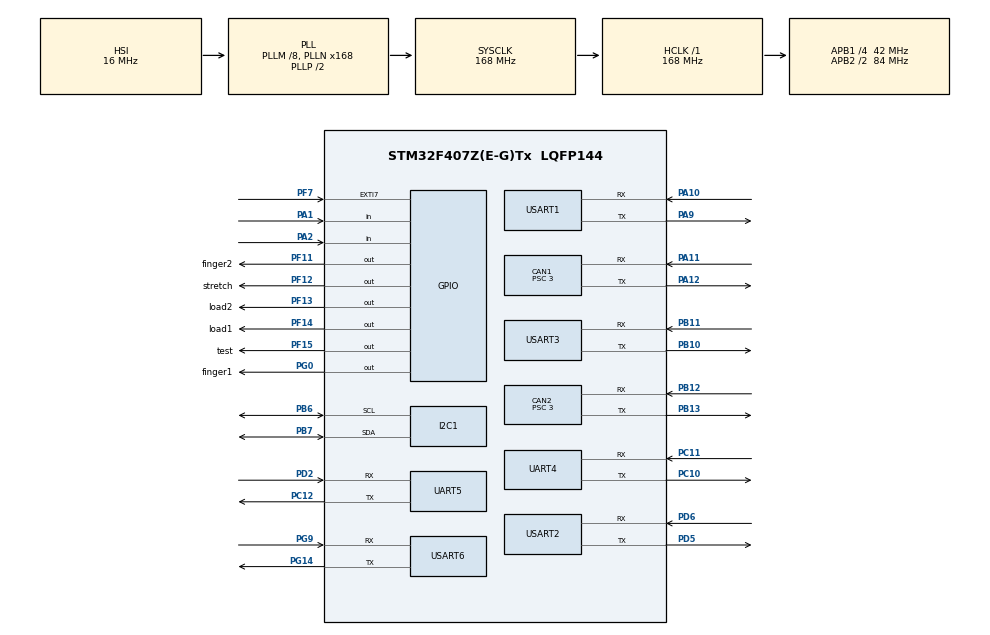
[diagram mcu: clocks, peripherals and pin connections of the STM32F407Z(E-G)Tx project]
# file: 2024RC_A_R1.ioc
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CAN1.ABOM=ENABLE
CAN1.BS1=CAN_BS1_9TQ
CAN1.BS2=CAN_BS2_4TQ
CAN1.CalculateBaudRate=1000000
CAN1.CalculateTimeBit=1000
CAN1.CalculateTimeQuantum=71.42857142857143
CAN1.Prescaler=3
CAN2.ABOM=ENABLE
CAN2.BS1=CAN_BS1_9TQ
CAN2.BS2=CAN_BS2_4TQ
CAN2.CalculateBaudRate=1000000
CAN2.CalculateTimeBit=1000
CAN2.CalculateTimeQuantum=71.42857142857143
CAN2.Prescaler=3
Dma.Request0=USART1_TX
Dma.Request1=USART1_RX
Dma.Request2=USART2_RX
Dma.Request3=USART2_TX
Dma.Request4=USART3_RX
Dma.Request5=USART3_TX
Dma.Request6=USART6_RX
Dma.Request7=USART6_TX
Dma.USART1_RX.1.Direction=DMA_PERIPH_TO_MEMORY
Dma.USART1_RX.1.FIFOMode=DMA_FIFOMODE_DISABLE
Dma.USART1_RX.1.Instance=DMA2_Stream2
Dma.USART1_RX.1.MemDataAlignment=DMA_MDATAALIGN_BYTE
Dma.USART1_RX.1.MemInc=DMA_MINC_ENABLE
Dma.USART1_RX.1.Mode=DMA_NORMAL
Dma.USART1_RX.1.PeriphDataAlignment=DMA_PDATAALIGN_BYTE
Dma.USART1_RX.1.PeriphInc=DMA_PINC_DISABLE
Dma.USART1_RX.1.Priority=DMA_PRIORITY_LOW
Dma.USART1_TX.0.Direction=DMA_MEMORY_TO_PERIPH
Dma.USART1_TX.0.FIFOMode=DMA_FIFOMODE_DISABLE
Dma.USART1_TX.0.Instance=DMA2_Stream7
Dma.USART1_TX.0.MemDataAlignment=DMA_MDATAALIGN_BYTE
Dma.USART1_TX.0.MemInc=DMA_MINC_ENABLE
Dma.USART1_TX.0.Mode=DMA_NORMAL
Dma.USART1_TX.0.PeriphDataAlignment=DMA_PDATAALIGN_BYTE
Dma.USART1_TX.0.PeriphInc=DMA_PINC_DISABLE
Dma.USART1_TX.0.Priority=DMA_PRIORITY_LOW
Dma.USART2_RX.2.Direction=DMA_PERIPH_TO_MEMORY
Dma.USART2_RX.2.FIFOMode=DMA_FIFOMODE_DISABLE
Dma.USART2_RX.2.Instance=DMA1_Stream5
Dma.USART2_RX.2.MemDataAlignment=DMA_MDATAALIGN_BYTE
Dma.USART2_RX.2.MemInc=DMA_MINC_ENABLE
Dma.USART2_RX.2.Mode=DMA_NORMAL
Dma.USART2_RX.2.PeriphDataAlignment=DMA_PDATAALIGN_BYTE
Dma.USART2_RX.2.PeriphInc=DMA_PINC_DISABLE
Dma.USART2_RX.2.Priority=DMA_PRIORITY_LOW
Dma.USART2_TX.3.Direction=DMA_MEMORY_TO_PERIPH
Dma.USART2_TX.3.FIFOMode=DMA_FIFOMODE_DISABLE
Dma.USART2_TX.3.Instance=DMA1_Stream6
Dma.USART2_TX.3.MemDataAlignment=DMA_MDATAALIGN_BYTE
Dma.USART2_TX.3.MemInc=DMA_MINC_ENABLE
Dma.USART2_TX.3.Mode=DMA_NORMAL
Dma.USART2_TX.3.PeriphDataAlignment=DMA_PDATAALIGN_BYTE
Dma.USART2_TX.3.PeriphInc=DMA_PINC_DISABLE
Dma.USART2_TX.3.Priority=DMA_PRIORITY_LOW
Dma.USART3_RX.4.Direction=DMA_PERIPH_TO_MEMORY
Dma.USART3_RX.4.FIFOMode=DMA_FIFOMODE_DISABLE
Dma.USART3_RX.4.Instance=DMA1_Stream1
Dma.USART3_RX.4.MemDataAlignment=DMA_MDATAALIGN_BYTE
Dma.USART3_RX.4.MemInc=DMA_MINC_ENABLE
Dma.USART3_RX.4.Mode=DMA_NORMAL
Dma.USART3_RX.4.PeriphDataAlignment=DMA_PDATAALIGN_BYTE
Dma.USART3_RX.4.PeriphInc=DMA_PINC_DISABLE
Dma.USART3_RX.4.Priority=DMA_PRIORITY_LOW
Dma.USART3_TX.5.Direction=DMA_MEMORY_TO_PERIPH
Dma.USART3_TX.5.FIFOMode=DMA_FIFOMODE_DISABLE
Dma.USART3_TX.5.Instance=DMA1_Stream3
Dma.USART3_TX.5.MemDataAlignment=DMA_MDATAALIGN_BYTE
Dma.USART3_TX.5.MemInc=DMA_MINC_ENABLE
Dma.USART3_TX.5.Mode=DMA_NORMAL
Dma.USART3_TX.5.PeriphDataAlignment=DMA_PDATAALIGN_BYTE
Dma.USART3_TX.5.PeriphInc=DMA_PINC_DISABLE
Dma.USART3_TX.5.Priority=DMA_PRIORITY_LOW
Dma.USART6_RX.6.Direction=DMA_PERIPH_TO_MEMORY
Dma.USART6_RX.6.FIFOMode=DMA_FIFOMODE_DISABLE
Dma.USART6_RX.6.Instance=DMA2_Stream1
Dma.USART6_RX.6.MemDataAlignment=DMA_MDATAALIGN_BYTE
Dma.USART6_RX.6.MemInc=DMA_MINC_ENABLE
Dma.USART6_RX.6.Mode=DMA_NORMAL
Dma.USART6_RX.6.PeriphDataAlignment=DMA_PDATAALIGN_BYTE
Dma.USART6_RX.6.PeriphInc=DMA_PINC_DISABLE
Dma.USART6_RX.6.Priority=DMA_PRIORITY_LOW
Dma.USART6_TX.7.Direction=DMA_MEMORY_TO_PERIPH
Dma.USART6_TX.7.FIFOMode=DMA_FIFOMODE_DISABLE
Dma.USART6_TX.7.Instance=DMA2_Stream6
Dma.USART6_TX.7.MemDataAlignment=DMA_MDATAALIGN_BYTE
Dma.USART6_TX.7.MemInc=DMA_MINC_ENABLE
Dma.USART6_TX.7.Mode=DMA_NORMAL
Dma.USART6_TX.7.PeriphDataAlignment=DMA_PDATAALIGN_BYTE
Dma.USART6_TX.7.PeriphInc=DMA_PINC_DISABLE
Dma.USART6_TX.7.Priority=DMA_PRIORITY_LOW
FREERTOS.Tasks01=FSM_switch,32,256,FSM_Task,Default,NULL,Dynamic,NULL,NULL;Chassis,16,256,Chassis_Task,Default,NULL,Dynamic,NULL,NULL;Gimbal,8,128,Gimbal_Task,Default,NULL,Dynamic,NULL,NULL;Shoot,8,256,Shoot_Task,Default,NULL,Dynamic,NULL,NULL;Motor,40,256,MotorTask,Default,NULL,Dynamic,NULL,NULL;Communicate,24,128,CommTask,Default,NULL,Dynamic,NULL,NULL;Move,8,256,MoveTask,Default,NULL,Dynamic,NULL,NULL;sensor,8,128,sensor_fun,Default,NULL,Dynamic,NULL,NULL
Mcu.Family=STM32F4
Mcu.Name=STM32F407Z(E-G)Tx
Mcu.Package=LQFP144
NVIC.CAN1_RX0_IRQn=true\:2\:0\:true\:false\:true\:false\:true\:true\:true
NVIC.CAN2_RX0_IRQn=true\:3\:0\:true\:false\:true\:false\:true\:true\:true
NVIC.DMA1_Stream1_IRQn=true\:5\:0\:false\:false\:true\:true\:false\:true\:true
NVIC.DMA1_Stream3_IRQn=true\:5\:0\:false\:false\:true\:true\:false\:true\:true
NVIC.DMA1_Stream5_IRQn=true\:5\:0\:false\:false\:true\:true\:false\:true\:true
NVIC.DMA1_Stream6_IRQn=true\:5\:0\:false\:false\:true\:true\:false\:true\:true
NVIC.DMA2_Stream1_IRQn=true\:5\:0\:false\:false\:true\:true\:false\:true\:true
NVIC.DMA2_Stream2_IRQn=true\:5\:0\:false\:false\:true\:true\:false\:true\:true
NVIC.DMA2_Stream6_IRQn=true\:5\:0\:false\:false\:true\:true\:false\:true\:true
NVIC.DMA2_Stream7_IRQn=true\:5\:0\:false\:false\:true\:true\:false\:true\:true
NVIC.EXTI9_5_IRQn=true\:5\:0\:false\:false\:true\:false\:true\:true\:true
NVIC.PriorityGroup=NVIC_PRIORITYGROUP_4
NVIC.TIM2_IRQn=true\:0\:0\:true\:false\:true\:false\:true\:true\:true
NVIC.TIM3_IRQn=true\:15\:0\:false\:false\:true\:false\:false\:true\:true
NVIC.TimeBase=TIM3_IRQn
NVIC.TimeBaseIP=TIM3
NVIC.UART4_IRQn=true\:0\:0\:true\:false\:true\:false\:true\:true\:true
NVIC.UART5_IRQn=true\:1\:0\:true\:false\:true\:false\:true\:true\:true
NVIC.USART1_IRQn=true\:6\:0\:true\:false\:true\:false\:true\:true\:true
NVIC.USART2_IRQn=true\:7\:0\:true\:false\:true\:false\:true\:true\:true
NVIC.USART3_IRQn=true\:4\:0\:true\:false\:true\:false\:true\:true\:true
NVIC.USART6_IRQn=true\:5\:0\:false\:false\:true\:true\:true\:true\:true
PA1.GPIO_PuPd=GPIO_PULLUP
PA1.Signal=GPIO_Input
PA10.Mode=Asynchronous
PA10.Signal=USART1_RX
PA11.Mode=CAN_Activate
PA11.Signal=CAN1_RX
PA12.Mode=CAN_Activate
PA12.Signal=CAN1_TX
PA13.Mode=Serial_Wire
PA13.Signal=SYS_JTMS-SWDIO
PA14.Mode=Serial_Wire
PA14.Signal=SYS_JTCK-SWCLK
PA2.GPIO_PuPd=GPIO_PULLDOWN
PA2.Signal=GPIO_Input
PA9.Mode=Asynchronous
PA9.Signal=USART1_TX
PB10.Mode=Asynchronous
PB10.Signal=USART3_TX
PB11.Mode=Asynchronous
PB11.Signal=USART3_RX
PB12.Mode=CAN_Activate
PB12.Signal=CAN2_RX
PB13.Mode=CAN_Activate
PB13.Signal=CAN2_TX
PB6.Mode=I2C
PB6.Signal=I2C1_SCL
PB7.Mode=I2C
PB7.Signal=I2C1_SDA
PC10.Mode=Asynchronous
PC10.Signal=UART4_TX
PC11.Mode=Asynchronous
PC11.Signal=UART4_RX
PC12.Mode=Asynchronous
PC12.Signal=UART5_TX
PD2.Mode=Asynchronous
PD2.Signal=UART5_RX
PD5.Mode=Asynchronous
PD5.Signal=USART2_TX
PD6.Mode=Asynchronous
PD6.Signal=USART2_RX
PF11.GPIO_Label=finger2
PF11.Signal=GPIO_Output
PF12.GPIO_Label=stretch
PF12.Signal=GPIO_Output
PF13.GPIO_Label=load2
PF13.Signal=GPIO_Output
PF14.GPIO_Label=load1
PF14.Signal=GPIO_Output
PF15.GPIO_Label=test
PF15.Signal=GPIO_Output
PF7.Signal=GPXTI7
PG0.GPIO_Label=finger1
PG0.Signal=GPIO_Output
PG14.Mode=Asynchronous
PG14.Signal=USART6_TX
PG9.Mode=Asynchronous
PG9.Signal=USART6_RX
PH0-OSC_IN.Mode=HSE-External-Oscillator
PH0-OSC_IN.Signal=RCC_OSC_IN
PH1-OSC_OUT.Mode=HSE-External-Oscillator
PH1-OSC_OUT.Signal=RCC_OSC_OUT
ProjectManager.HeapSize=0x200
ProjectManager.StackSize=0x400
ProjectManager.TargetToolchain=MDK-ARM V5.32
RCC.48MHZClocksFreq_Value=84000000
RCC.AHBFreq_Value=168000000
RCC.APB1CLKDivider=RCC_HCLK_DIV4
RCC.APB1Freq_Value=42000000
RCC.APB1TimFreq_Value=84000000
RCC.APB2CLKDivider=RCC_HCLK_DIV2
RCC.APB2Freq_Value=84000000
RCC.APB2TimFreq_Value=168000000
RCC.CortexFreq_Value=168000000
RCC.HCLKFreq_Value=168000000
RCC.HSE_VALUE=8000000
RCC.HSI_VALUE=16000000
RCC.LSE_VALUE=32768
RCC.PLLM=8
RCC.PLLN=168
RCC.SYSCLKFreq_VALUE=168000000
RCC.SYSCLKSource=RCC_SYSCLKSOURCE_PLLCLK
RCC.VCOOutputFreq_Value=336000000
TIM2.Period=100000
TIM2.Prescaler=83
UART4.VirtualMode=Asynchronous
UART5.VirtualMode=Asynchronous
USART1.VirtualMode=VM_ASYNC
USART2.VirtualMode=VM_ASYNC
USART3.VirtualMode=VM_ASYNC
USART6.VirtualMode=VM_ASYNC
VP_FREERTOS_VS_CMSIS_V2.Mode=CMSIS_V2
VP_SYS_VS_tim3.Mode=TIM3
VP_TIM2_VS_ClockSourceINT.Mode=Internal
board=custom

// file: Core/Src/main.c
/* USER CODE BEGIN Header */
/**
 ******************************************************************************
 * @file           : main.c
 * @brief          : Main program body
 ******************************************************************************
 * @attention
 *
 * Copyright (c) 2023 STMicroelectronics.
 * All rights reserved.
 *
 * This software is licensed under terms that can be found in the LICENSE file
 * in the root directory of this software component.
 * If no LICENSE file comes with this software, it is provided AS-IS.
 *
 ******************************************************************************
 */
/* USER CODE END Header */
#include "main.h"
#include "cmsis_os.h"
#include "can.h"
#include "dma.h"
#include "i2c.h"
#include "tim.h"
#include "usart.h"
#include "gpio.h"

void SystemClock_Config(void);
void MX_FREERTOS_Init(void);

int main(void)
{

  /* MCU Configuration--------------------------------------------------------*/

  /* Reset of all peripherals, Initializes the Flash interface and the Systick. */
  HAL_Init();

  /* Configure the system clock */
  SystemClock_Config();

  /* Initialize all configured peripherals */
  MX_GPIO_Init();
  MX_DMA_Init();
  MX_CAN1_Init();
  MX_CAN2_Init();
  MX_TIM2_Init();
  MX_UART4_Init();
  MX_UART5_Init();
  MX_USART3_UART_Init();
  MX_USART1_UART_Init();
  MX_USART2_UART_Init();
  MX_USART6_UART_Init();
  MX_I2C1_Init();
  /* USER CODE BEGIN 2 */
  HAL_TIM_Base_Start_IT(&htim2); // 初始化定时器2

  Usr_UART_Init();
  uint8_t USART_Receiver1;
  uint8_t USART1_Receiver;

  HAL_UARTEx_ReceiveToIdle_DMA(&huart1, Usart1.ProcessBuff, Max_BUFF_Len);
  __HAL_DMA_DISABLE_IT(&hdma_usart1_rx, DMA_IT_HT); // 关闭DMA半传输中断

  HAL_UARTEx_ReceiveToIdle_DMA(&huart2, Usart2.ProcessBuff, Max_BUFF_Len);
  __HAL_DMA_DISABLE_IT(&hdma_usart2_rx, DMA_IT_HT); // 关闭DMA半传输中断

  HAL_UARTEx_ReceiveToIdle_DMA(&huart3, Usart3.ProcessBuff, Max_BUFF_Len);
  __HAL_DMA_DISABLE_IT(&hdma_usart3_rx, DMA_IT_HT); // 关闭DMA半传输中断

  HAL_UART_Receive_IT(&huart4, &USART_Receiver1, 1);
  //  HAL_UARTEx_ReceiveToIdle_DMA(&huart4, Usart4.ProcessBuff, Max_BUFF_Len);
  //  __HAL_DMA_DISABLE_IT(&hdma_uart4_rx, DMA_IT_HT); // 关闭DMA半传输中断

  HAL_UART_Receive_IT(&huart5, &USART1_Receiver, 1);
  //  HAL_UARTEx_ReceiveToIdle_DMA(&huart5, Usart5.ProcessBuff, Max_BUFF_Len);
  //  __HAL_DMA_DISABLE_IT(&hdma_uart5_rx, DMA_IT_HT); // 关闭DMA半传输中断

  can_filter_init();
  can1_config();
  can2_config();
  Move_Init();
  chassis_init();

  ctrl_sent_test(seed_state);
  keyboard_feedback_send();
//  TCS34725_1_Init();
  /* USER CODE END 2 */

  /* Init scheduler */
  osKernelInitialize();

  /* Call init function for freertos objects (in cmsis_os2.c) */
  MX_FREERTOS_Init();

  /* Start scheduler */
  osKernelStart();

  /* We should never get here as control is now taken by the scheduler */

  /* Infinite loop */
  while (1)
  {

  }
}

void SystemClock_Config(void)
{
  RCC_OscInitTypeDef RCC_OscInitStruct = {0};
  RCC_ClkInitTypeDef RCC_ClkInitStruct = {0};

  /** Configure the main internal regulator output voltage
  */
  __HAL_RCC_PWR_CLK_ENABLE();
  __HAL_PWR_VOLTAGESCALING_CONFIG(PWR_REGULATOR_VOLTAGE_SCALE1);

  /** Initializes the RCC Oscillators according to the specified parameters
  * in the RCC_OscInitTypeDef structure.
  */
  RCC_OscInitStruct.OscillatorType = RCC_OSCILLATORTYPE_HSI;
  RCC_OscInitStruct.HSIState = RCC_HSI_ON;
  RCC_OscInitStruct.HSICalibrationValue = RCC_HSICALIBRATION_DEFAULT;
  RCC_OscInitStruct.PLL.PLLState = RCC_PLL_ON;
  RCC_OscInitStruct.PLL.PLLSource = RCC_PLLSOURCE_HSI;
  RCC_OscInitStruct.PLL.PLLM = 8;
  RCC_OscInitStruct.PLL.PLLN = 168;
  RCC_OscInitStruct.PLL.PLLP = RCC_PLLP_DIV2;
  RCC_OscInitStruct.PLL.PLLQ = 4;
  if (HAL_RCC_OscConfig(&RCC_OscInitStruct) != HAL_OK)
  {
    Error_Handler();
  }

  /** Initializes the CPU, AHB and APB buses clocks
  */
  RCC_ClkInitStruct.ClockType = RCC_CLOCKTYPE_HCLK|RCC_CLOCKTYPE_SYSCLK
                              |RCC_CLOCKTYPE_PCLK1|RCC_CLOCKTYPE_PCLK2;
  RCC_ClkInitStruct.SYSCLKSource = RCC_SYSCLKSOURCE_PLLCLK;
  RCC_ClkInitStruct.AHBCLKDivider = RCC_SYSCLK_DIV1;
  RCC_ClkInitStruct.APB1CLKDivider = RCC_HCLK_DIV4;
  RCC_ClkInitStruct.APB2CLKDivider = RCC_HCLK_DIV2;

  if (HAL_RCC_ClockConfig(&RCC_ClkInitStruct, FLASH_LATENCY_5) != HAL_OK)
  {
    Error_Handler();
  }
}

void HAL_TIM_PeriodElapsedCallback(TIM_HandleTypeDef *htim)
{
  /* USER CODE BEGIN Callback 0 */
  if (htim->Instance == TIM2)
  {
    LAST_TIME_ISR_CNT = TIME_ISR_CNT;
    TIME_ISR_CNT++;
    Microsecond_Cnt++;
    if (Microsecond_Cnt >= 100)
    {
      Microsecond_Cnt = 0;
      Time_Sys[Second]++;
      if (Time_Sys[Second] >= 60)
      {
        Time_Sys[Second] = 0;
        Time_Sys[Minute]++;
        if (Time_Sys[Minute] >= 60)
        {
          Time_Sys[Minute] = 0;
          Time_Sys[Hour]++;
        }
      }
    }
    Time_Sys[MicroSecond] = Microsecond_Cnt;
  }
  /* USER CODE END Callback 0 */
  if (htim->Instance == TIM3) {
    HAL_IncTick();
  }
}

void Error_Handler(void)
{
  __disable_irq();
  while (1)
  {
  }
}

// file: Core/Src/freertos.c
/* USER CODE BEGIN Header */
/**
 ******************************************************************************
 * File Name          : freertos.c
 * Description        : Code for freertos applications
 ******************************************************************************
 * @attention
 *
 * Copyright (c) 2024 STMicroelectronics.
 * All rights reserved.
 *
 * This software is licensed under terms that can be found in the LICENSE file
 * in the root directory of this software component.
 * If no LICENSE file comes with this software, it is provided AS-IS.
 *
 ******************************************************************************
 */
/* USER CODE END Header */

#include "FreeRTOS.h"
#include "task.h"
#include "main.h"
#include "cmsis_os.h"

/* Definitions for FSM_switch */
osThreadId_t FSM_switchHandle;
const osThreadAttr_t FSM_switch_attributes = {
    .name = "FSM_switch",
    .stack_size = 256 * 4,
    .priority = (osPriority_t)osPriorityAboveNormal,
};
/* Definitions for Chassis */
osThreadId_t ChassisHandle;
const osThreadAttr_t Chassis_attributes = {
    .name = "Chassis",
    .stack_size = 256 * 4,
    .priority = (osPriority_t)osPriorityBelowNormal,
};
/* Definitions for Gimbal */
osThreadId_t GimbalHandle;
const osThreadAttr_t Gimbal_attributes = {
    .name = "Gimbal",
    .stack_size = 128 * 4,
    .priority = (osPriority_t)osPriorityLow,
};
/* Definitions for Shoot */
osThreadId_t ShootHandle;
const osThreadAttr_t Shoot_attributes = {
    .name = "Shoot",
    .stack_size = 256 * 4,
    .priority = (osPriority_t)osPriorityLow,
};
/* Definitions for Motor */
osThreadId_t MotorHandle;
const osThreadAttr_t Motor_attributes = {
    .name = "Motor",
    .stack_size = 256 * 4,
    .priority = (osPriority_t)osPriorityHigh,
};
/* Definitions for Communicate */
osThreadId_t CommunicateHandle;
const osThreadAttr_t Communicate_attributes = {
    .name = "Communicate",
    .stack_size = 128 * 4,
    .priority = (osPriority_t)osPriorityNormal,
};
/* Definitions for Move */
osThreadId_t MoveHandle;
const osThreadAttr_t Move_attributes = {
    .name = "Move",
    .stack_size = 256 * 4,
    .priority = (osPriority_t)osPriorityLow,
};
/* Definitions for sensor */
osThreadId_t sensorHandle;
const osThreadAttr_t sensor_attributes = {
    .name = "sensor",
    .stack_size = 128 * 4,
    .priority = (osPriority_t)osPriorityLow,
};

void FSM_Task(void *argument);
void Chassis_Task(void *argument);
void Gimbal_Task(void *argument);
void Shoot_Task(void *argument);
void MotorTask(void *argument);
void CommTask(void *argument);
void MoveTask(void *argument);
void sensor_fun(void *argument);

void MX_FREERTOS_Init(void); /* (MISRA C 2004 rule 8.1) */

void MX_FREERTOS_Init(void)
{

  /* Create the thread(s) */
  /* creation of FSM_switch */
  FSM_switchHandle = osThreadNew(FSM_Task, NULL, &FSM_switch_attributes);

  /* creation of Chassis */
  ChassisHandle = osThreadNew(Chassis_Task, NULL, &Chassis_attributes);

  /* creation of Gimbal */
  GimbalHandle = osThreadNew(Gimbal_Task, NULL, &Gimbal_attributes);

  /* creation of Shoot */
  ShootHandle = osThreadNew(Shoot_Task, NULL, &Shoot_attributes);

  /* creation of Motor */
  MotorHandle = osThreadNew(MotorTask, NULL, &Motor_attributes);

  /* creation of Communicate */
  CommunicateHandle = osThreadNew(CommTask, NULL, &Communicate_attributes);

  /* creation of Move */
  MoveHandle = osThreadNew(MoveTask, NULL, &Move_attributes);

  /* creation of sensor */
  sensorHandle = osThreadNew(sensor_fun, NULL, &sensor_attributes);

}

void FSM_Task(void *argument)
{
  /* USER CODE BEGIN FSM_Task */
  /* Infinite loop */
  for (;;)
  {
    // 用于切换场地
    if (HAL_GPIO_ReadPin(GPIOA, GPIO_PIN_2))
    {
      field = Right;
    }
    else
    {
      field = Left;
    }
    robot_fsm();
    osDelay(1);
  }
  /* USER CODE END FSM_Task */
}

void Chassis_Task(void *argument)
{
  /* USER CODE BEGIN Chassis_Task */
  /* Infinite loop */
  for (;;)
  {
    if (chassis_state == CHASSIS_DISABLE)
    {
      ROBOT_CHASSI.Vx_MAX = 0;
      ROBOT_CHASSI.Vy_MAX = 0;
      ROBOT_CHASSI.Vw_MAX = 0;
      chassis_stop();
    }
    else if (chassis_state == CHASSIS_STATE_HIGH_SPEED)
    {
      ROBOT_CHASSI.Vx_MAX = 1600;
      ROBOT_CHASSI.Vy_MAX = 1600;
      ROBOT_CHASSI.Vw_MAX = 2000;
    }
    else if (chassis_state == CHASSIS_STATE_LOW_SPEED)
    {
      //      ROBOT_CHASSI.Vx_MAX = 800;
      //      ROBOT_CHASSI.Vy_MAX = 800;
      //      ROBOT_CHASSI.Vw_MAX = 1000;
      ROBOT_CHASSI.Vx_MAX = 1600;
      ROBOT_CHASSI.Vy_MAX = 1600;
      ROBOT_CHASSI.Vw_MAX = 2000;
    }
    Free_Control();
    Robot_Wheels_RPM_calculate();
    osDelay(1);
  }
  /* USER CODE END Chassis_Task */
}

void Gimbal_Task(void *argument)
{
  /* USER CODE BEGIN Gimbal_Task */
  /* Infinite loop */
  for (;;)
  {
    switch (gimbal_state)
    {
    case GIMBAL_STATE_DISABLE:
      Position_Control(&can2motorRealInfo[Motor_SHOOT_GIMBAL], 3300);
      belt_speed = 5000;
      // belt_calc(field, GIMBAL_STATE_DISABLE);
      break;

    case GIMBAL_AIM_1:
      if (field == Left)
      {
        Gimbal.target_point[0] = shooting_point_x[1];
        Gimbal.target_point[1] = shooting_point_y[1];
      }
      else if (field == Right)
      {
        Gimbal.target_point[0] = shooting_point_x[4];
        Gimbal.target_point[1] = shooting_point_y[4];
      }
      Gimbal_controller();
      if (Theta <= 140 && Theta >= -140)
      {
        if (Position_Control(&can2motorRealInfo[Motor_SHOOT_GIMBAL], Alpha))
        {
          Gimbal.aim_flag = Position_Control(&can2motorRealInfo[Motor_SHOOT_GIMBAL], Alpha);
        }
      }
      belt_calc(field, GIMBAL_AIM_1);
      break;

    case GIMBAL_AIM_2:
      if (field == Left)
      {
        Gimbal.target_point[0] = shooting_point_x[2];
        Gimbal.target_point[1] = shooting_point_y[2];
      }
      else if (field == Right)
      {
        Gimbal.target_point[0] = shooting_point_x[5];
        Gimbal.target_point[1] = shooting_point_y[5];
      }
      Gimbal_controller();
      if (Theta <= 140 && Theta >= -140)
      {
        if (Position_Control(&can2motorRealInfo[Motor_SHOOT_GIMBAL], Alpha))
        {
          Gimbal.aim_flag = Position_Control(&can2motorRealInfo[Motor_SHOOT_GIMBAL], Alpha);
        }
      }
      belt_calc(field, GIMBAL_AIM_2);
      break;

    case GIMBAL_AIM_3:
      if (field == Left)
      {
        Gimbal.target_point[0] = shooting_point_x[3];
        Gimbal.target_point[1] = shooting_point_y[3];
      }
      else if (field == Right)
      {
        Gimbal.target_point[0] = shooting_point_x[6];
        Gimbal.target_point[1] = shooting_point_y[6];
      }
      Gimbal_controller();
      if (Theta <= 140 && Theta >= -140)
      {
        if (Position_Control(&can2motorRealInfo[Motor_SHOOT_GIMBAL], Alpha))
        {
          Gimbal.aim_flag = Position_Control(&can2motorRealInfo[Motor_SHOOT_GIMBAL], Alpha);
        }
      }
      belt_calc(field, GIMBAL_AIM_3);
      break;
    default:
      break;
    }
    // // sent_data(-1 * can1motorRealInfo[0].RPM, -1 * can1motorRealInfo[1].RPM, can1motorRealInfo[2].RPM, can1motorRealInfo[3].RPM);
    // if (ball == 0 || shooting_point == 0)
    // {
    //   Position_Control(&can2motorRealInfo[Motor_SHOOT_GIMBAL], 3300);
    // }
    // else
    // {
    //   Auto_shooting_Init(); // 自动瞄准初始化
    // }
    // ball_auto(field);
    osDelay(10);
  }
  /* USER CODE END Gimbal_Task */
}

void Shoot_Task(void *argument)
{
  /* USER CODE BEGIN Shoot_Task */

  /* Infinite loop */
  static int catch_start = 0; // 夹取计时开启标志位
  static int catch_time = 0;  // 夹取计时
  int catch_time_max = 150;   // 夹取计时最大值
  for (;;)
  {
    switch (shoot_state)
    {
    case SHOOT_STATE_DISABLE:
      /*失能*/
      flip_motor(flip_init); // 翻转电机抬升
      jaw_open;              // 夹爪张开
      ball_loaded = 0;       // 球未装填
      back_ball;             // 推射气缸回位
      belt_ctrl(belt_stop);  // 摩擦带停止
      gimbal_state = GIMBAL_STATE_DISABLE;
      shooting_point = 0;
      belt_speed = 0;
      break;
    case SHOOT_STATE_INIT:
      /*初始化*/
      jaw_open;              // 夹爪张开
      ball_loaded = 0;       // 球未装填
      back_ball;             // 推射气缸回位
      flip_motor(flip_down); // 翻转电机下降
      catch_start = 0;       // 关闭夹爪计时
                             //	  belt_ctrl(belt_speed);
      break;
    case SHOOT_STATE_LOAD:
      /*取球*/
      belt_ctrl(belt_stop);                // 摩擦带停止
      jaw_close;                           // 夹爪夹紧
      back_ball;                           // 推射气缸回位
      catch_start = 1;                     // 开启计时
      if (catch_time > catch_time_max - 1) // 1000ms后
      {
        flip_motor(flip_up); // 翻转电机抬升
        if (flip_motor(flip_up) == 0)
        {
          ball_loaded = 1; // 球已装填
          jaw_open;        // 装填
        }
      }
      else
      {
        flip_motor(flip_down); // 翻转电机下降
      }
      break;
    case SHOOT_STATE_SHOOTING:
      /*发射*/
      jaw_open; // 夹爪张开
      // if (ball != 0)
      // {
      //   belt_ctrl(belt_speed);
      // }
      // else if (ball == 0)
      // {
      //   belt_base();
      // }
      belt_ctrl(belt_speed);
      if (shooting_enable)
      {
        push_ball; // 推射气缸推出
      }
      if (catch_time > catch_time_max - 1) // 1000ms后
      {
        flip_motor(flip_down); // 翻转电机下降
      }
      if (flip_motor(flip_down) == 1)
      {
        ball_loaded = 0; // 球未装填
        catch_start = 0; // 关闭夹爪计时
      }
      break;
    }
    if (catch_start == 1)
    {
      if (catch_time < catch_time_max)
      {
        catch_time++;
      }
      else
      {
        catch_time = catch_time_max;
      }
    }
    else
    {
      catch_time = 0;
    }
    osDelay(1);
  }
  /* USER CODE END Shoot_Task */
}

void MotorTask(void *argument)
{
  /* USER CODE BEGIN MotorTask */
  /* Infinite loop */
  for (;;)
  {
    Motor_Control();
    osDelay(1);
  }
  /* USER CODE END MotorTask */
}

void CommTask(void *argument)
{
  /* USER CODE BEGIN CommTask */
  static int seed_lost_back1;
  static int seed_lost_back2;
  /* Infinite loop */
  for (;;)
  {
    if (seed_state != last_seed_state)
    {
      ctrl_sent_test(seed_state);
      last_seed_state = seed_state;
    }
    if (feedback1.lost_cnt != seed_lost_back1 || feedback2.lost_cnt != seed_lost_back2)
    {
      ctrl_sent_test(seed_state);
      seed_lost_back1 = feedback1.lost_cnt;
      seed_lost_back2 = feedback2.lost_cnt;
    }

    // 键盘反馈数据更新
    keyboard_feedbacks.auto_state = auto_state;
    keyboard_feedbacks.move_state = move_state_switch(move_state);
    keyboard_feedbacks.direction = direction;
    keyboard_feedbacks.seed = seed;
    keyboard_feedbacks.put = put;
    keyboard_feedbacks.gimbal_state = gimbal_state;
    keyboard_feedbacks.lost_cnt = keyboard_feedbacks.receive_cnt - keyboard_feedbacks.command_cnt;
    if (memcmp(&keyboard_feedbacks, &last_keyboard_feedbacks, 9) != 0)
    {
      keyboard_feedback_send();
      memcpy(&last_keyboard_feedbacks, &keyboard_feedbacks, 9);
    }

    osDelay(100);
  }
  /* USER CODE END CommTask */
}

void MoveTask(void *argument)
{
  /* USER CODE BEGIN MoveTask */
  /* Infinite loop */
  //  static float tt17 = 0;
  static int seed_preput = 0;
  static int seed_chack = 0;
  for (;;)
  {
    if (caculation_ok)
    {
      YawAdjust(0.0);
    }
    switch (move_state)
    {
    case MOVE_STATE_INIT:
      ROBOT_CHASSI.plan_x = 0;
      ROBOT_CHASSI.plan_y = 0;
      //      ROBOT_CHASSI.plan_w = 0;
      break;

    case MOVE_STATE_WAIT_SEED:
      robot_state = ROBOT_STATE_SEED_CTRL;
      ROBOT_CHASSI.plan_x = 0;
      ROBOT_CHASSI.plan_y = 0;
      //      ROBOT_CHASSI.plan_w = 0;
      if (SWD < 1500)
      {
        seed_state = SEED_STATE_INIT;
      }
      else if (SWD > 1500)
      {
        seed_state = SEED_STATE_PEEK_DOWN;

        if (feedback2.state == SEED_STATE_PEEK_UP && feedback2.motor_state[2] == 2)
        {
          update_action_put = 1;
          put = 2 * seed - 1;
          move_state = MOVE_STATE_PUT;
        }
      }
      break;

    case MOVE_STATE_WAIT_PUT:
      robot_state = ROBOT_STATE_SEED_CTRL;
      ROBOT_CHASSI.plan_x = 0;
      ROBOT_CHASSI.plan_y = 0;
      //      ROBOT_CHASSI.plan_w = 0;
      if (SWD < 1500)
      {
        if (put == 1)
        {
          seed_state = field == 0 ? SEED_STATE_PUT : SEED_STATE_PUT_BLUE;
          seed_chack = 0;
          if (feedback2.motor_state[field] == 0)
          {
            update_action_put = 1;
            put = 2;
            move_state = MOVE_STATE_PUT;
          }
        }
        else if (put == 3)
        {
          seed_state = field == 0 ? SEED_STATE_PUT : SEED_STATE_PUT_BLUE;
          seed_chack = 0;
          if (feedback2.motor_state[field] == 0)
          {
            update_action_put = 1;
            put = 4;
            move_state = MOVE_STATE_PUT;
          }
        }
        else if (put == 5)
        {
          seed_state = field == 0 ? SEED_STATE_PUT : SEED_STATE_PUT_BLUE;
          seed_chack = 0;
          if (feedback2.motor_state[field] == 0)
          {
            update_action_put = 1;
            put = 6;
            move_state = MOVE_STATE_PUT;
          }
        }
        else // put为双数 2 4 6
        {
          if (seed_chack == 0)
          {
            seed_state = field == 0 ? SEED_STATE_PUT : SEED_STATE_PUT_BLUE;
          }
          else if (seed_chack == 1)
          {
            seed_state = SEED_STATE_INIT;
            seed_preput = 0;
          }
        }
      }
      else if (SWD > 1500)
      {
        if (seed_preput == 1)
        {
          seed_chack = 1;
          seed_state = SEED_STATE_HALF;
        }
        else if (seed_preput == 0)
        {
          seed_state = SEED_STATE_PEEK_UP;
        }
      }
      break;

    case MOVE_STATE_WAIT_CATCH:
      robot_state = ROBOT_STATE_SHOOT_CTRL;
      ROBOT_CHASSI.plan_x = 0;
      ROBOT_CHASSI.plan_y = 0;
      //      ROBOT_CHASSI.plan_w = 0;
      break;

    case MOVE_STATE_WAIT_ACTION:

      break;

    case MOVE_INIT_ACTION:

      break;

    case MOVE_STATE_SEED:
      robot_state = ROBOT_STATE_SEED_CTRL;
      seed_state = SEED_STATE_JAW_INIT;
      if (field == Left)
      {
        move_seed();
      }
      else
      {
        move_seed_right();
      }

      break;

    case MOVE_SEED_LASER:
      robot_state = ROBOT_STATE_SEED_CTRL;
      seed_state = SEED_STATE_INIT;
      if (field == Left)
      {
        laser_seed();
      }
      else
      {
        //		  point_to_point(3321,280,0.0,500);
        laser_seed_right();
      }
      break;

    case MOVE_PUT_LASER:
      robot_state = ROBOT_STATE_SEED_CTRL;
      if (put == 1 || put == 3 || put == 5)
      {
        seed_state = SEED_STATE_HALF;
        seed_preput = 1;
      }
      else if (put == 2 || put == 4 || put == 6)
      {
        seed_state = field == 0 ? SEED_STATE_PUT : SEED_STATE_PUT_BLUE;
        seed_chack = 0;
      }

      if (field == Left)
      {
        laser_put();
      }
      else
      {
        laser_put_right();
      }
      break;

    case MOVE_STATE_PUT:
      robot_state = ROBOT_STATE_SEED_CTRL;
      if (field == Left)
      {
        put_seed();
      }
      else
      {
        put_seed_right();
      }

      break;

    case MOVE_STATE_LASER:
      robot_state = ROBOT_STATE_SHOOT_CTRL;
      if (field == Left)
      {
        laser_catch();
      }
      else
      {

        laser_catch_right();
      }

      break;

    case MOVE_STATE_ACTION_NEAR:
      ////		if(Laser2_calibration(DT35.y,DT35.x))
      //	    if(YawAdjust(0.0))
      //		{
      //		 ROBOT_CHASSI.plan_x = 0;
      //		if(Laser3_calibration(449,100))
      //					{
      //					    ROBOT_CHASSI.plan_x = 0;
      //		                ROBOT_CHASSI.plan_y = 0;
      //		                ROBOT_CHASSI.plan_w = 0;
      //					    move_state = MOVE_STATE_INIT;
      //				       //不确定要不要加上倒车，看看测试 这里加上夹爪放苗之类的即可
      ////					   move_state = MOVE_STATE_LASER_NEAR;
      //					}
      //      laser_catch_near();
      robot_state = ROBOT_STATE_SHOOT_CTRL;
      action_catch();

      //				}

      break;

    case CALIBRATION_BY_ACTION:

      action_calibration();

      break;
    case MOVE_BALL_BY_ACTION:
      robot_state = ROBOT_STATE_SHOOT_CTRL;
      if (field == Left)
      {
        action_catch_ball();
      }
      else
      {

        action_catch_ball_right();
      }
      break;

    case MOVE_BY_ACTION:

      action_catch();

      break;
    }
    osDelay(10);
  }
  /* USER CODE END MoveTask */
}

void sensor_fun(void *argument)
{
  /* USER CODE BEGIN sensor_fun */
  /* Infinite loop */
  for (;;)
  {
    //    tcs34725_work();
    sent_data(can1motorRealInfo[0].RPM, can1motorRealInfo[1].RPM, -1 * can1motorRealInfo[2].RPM, -1 * can1motorRealInfo[3].RPM);
    osDelay(10);
  }
  /* USER CODE END sensor_fun */
}
